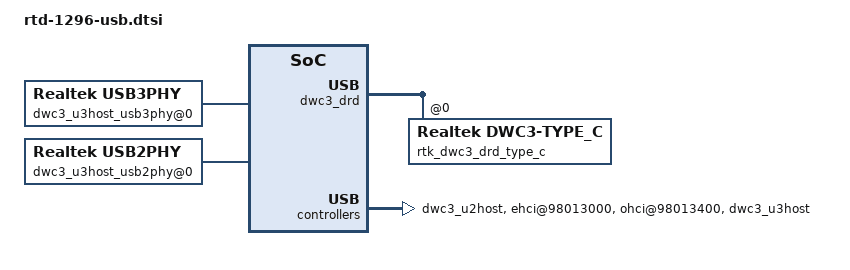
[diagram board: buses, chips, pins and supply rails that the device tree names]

/ {
	/include/ "rtd-129x-usb.dtsi"

	rtk_usb_power_manager@0 {
		compatible = "Realtek,usb-manager";

		status = "okay";
		/* For port0 */
		gpio0: gpio0 {
			realtek,power-gpio = <&rtk_iso_gpio 1 1 0>;
		};
		/* For port1 and port2 */
		gpio1: gpio1 {
			realtek,power-gpio = <&rtk_iso_gpio 31 1 0>;
		};
		/* For port2 */
		gpio2: gpio2 {
			realtek,power-gpio = <&rtk_iso_gpio 32 1 0>;
		};
		/* For port3 */
		gpio3: gpio3 {
			realtek,power-gpio = <&rtk_iso_gpio 32 1 0>;
		};
	};

	dwc3_drd: rtk_dwc3_drd@98013200 {
		compatible = "Realtek,dwc3";

		status = "okay";

		dwc3_drd@98020000 {
			dr_mode = "peripheral"; /*host, peripheral*/
			snps,dis_ss_park_mode;
		};

		rtk_dwc3_drd_type_c@0 {
			compatible = "Realtek,dwc3-type_c";
			drd_mode;  //depend on dr_mode = "peripheral"
		};

	};

	dwc3_u2host: rtk_dwc3_u2host@98013E00 {
		compatible = "Realtek,dwc3";

		status = "okay";
	};

	ehci@98013000 {
		compatible = "Realtek,rtd129x-ehci";

		status = "okay";
	};

	ohci@98013400 {
		compatible = "Realtek,rtd129x-ohci";

		status = "okay";
	};

	dwc3_u3host_usb3phy@0 {
		compatible = "Realtek,usb3phy";

		status = "okay";
	};

	dwc3_u3host_usb2phy@0 {
		compatible = "Realtek,usb2phy";

		status = "okay";
	};

	dwc3_u3host: rtk_dwc3_u3host@98013E00 {
		compatible = "Realtek,dwc3";

		status = "okay";

		dwc3_u3host@981F0000 {
			snps,dis_ss_park_mode;
		};
	};
};
